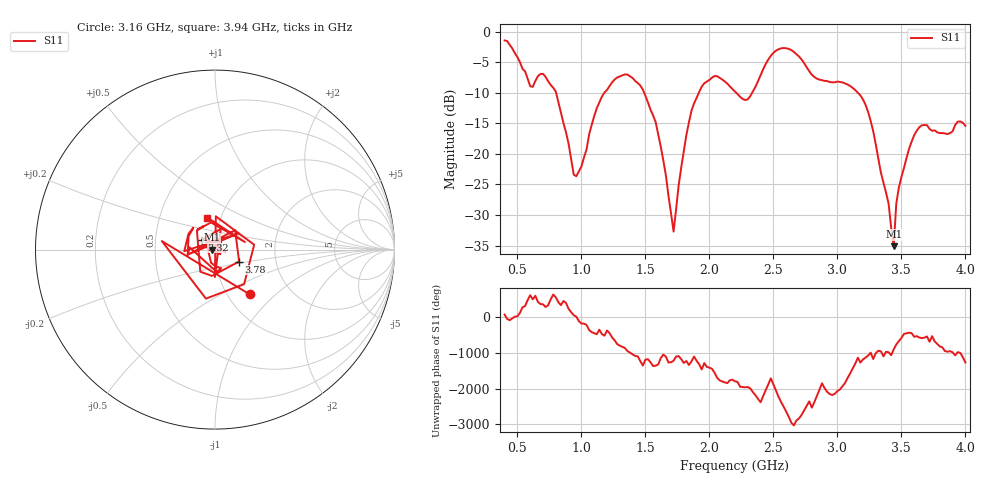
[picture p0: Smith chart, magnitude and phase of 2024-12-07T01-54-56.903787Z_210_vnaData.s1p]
!Created with skrf (http://scikit-rf.org).
# Hz S RI R 50.0
!freq ReS11 ImS11
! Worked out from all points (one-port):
!   181 points, 400 MHz to 4 GHz, reference 50 ohm
!   lowest |S11| = -35.1 dB at 3.44 GHz (marker M1), VSWR 1.04, Z = 48.3 - j0.0378 ohm
!   |S11| at or under -10 dB: 802.1 MHz to 1.179 GHz (377.2 MHz wide, 38.1 % of centre); 1.49 GHz to 1.918 GHz (427.6 MHz wide, 25.1 % of centre); 3.159 GHz to end of sweep (the widest 3 of 4)
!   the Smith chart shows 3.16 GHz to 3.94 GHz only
!   S11 on the Smith chart (normalised r, x): 3.16 GHz: 1.26, -0.70; 3.32 GHz: 0.86, +0.10; 3.78 GHz: 1.30, -0.18; 3.94 GHz: 0.86, +0.32
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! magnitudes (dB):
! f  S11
! 400 MHz  -1.5
! 600 MHz  -8.9
! 720 MHz  -7.4
! 860 MHz  -15.0
! 960 MHz  -23.7
! 1.12 GHz  -12.5
! 1.3 GHz  -7.4
! 1.46 GHz  -8.8
! 1.58 GHz  -14.8
! 1.72 GHz  -32.7
! 1.76 GHz  -25.1
! 1.86 GHz  -13.0
! 1.94 GHz  -9.0
! 2.2 GHz  -9.8
! 2.3 GHz  -11.1
! 2.5 GHz  -3.5
! 2.66 GHz  -3.3
! 3.1 GHz  -8.9
! 3.16 GHz  -10.0
! 3.24 GHz  -13.2
! 3.32 GHz  -20.8
! 3.44 GHz  -35.1
! 3.46 GHz  -28.2
! 3.56 GHz  -19.2
! 3.66 GHz  -15.3
! 3.78 GHz  -16.5
! 3.94 GHz  -14.7
! 4 GHz  -15.4
